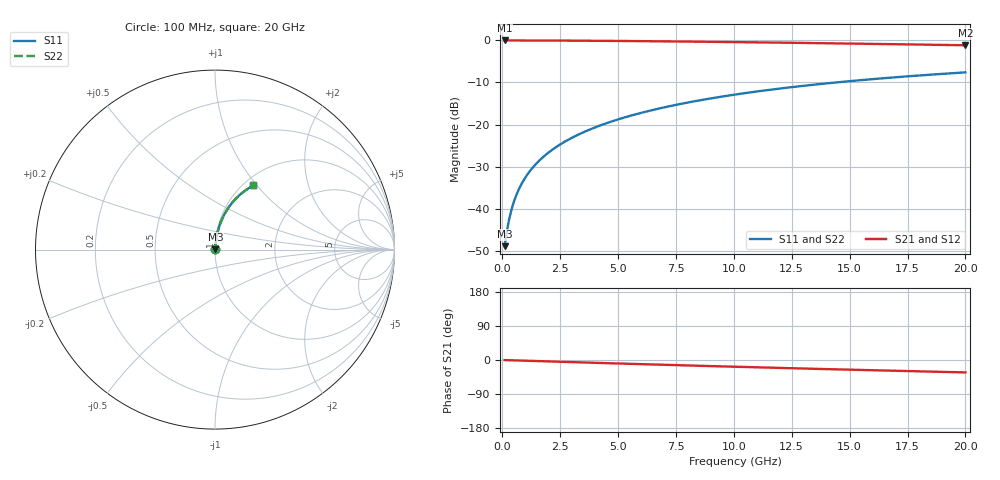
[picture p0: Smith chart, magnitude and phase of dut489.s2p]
! Touchstone file exported from HFSS 2024.1.0
!  File:  C:/UserFiles/LocalFiles/RDL_TSV_Batchsim/temp_RDL_bottom_489_1779686741.aedt
!  Generated:  01:28:06 PM May 25, 2026
!  Design:  RDL_bottom
!  Project:  temp_RDL_bottom_489_1779686741
!  Setup:  Setup1
!  Solution:  Sweep
! Variables:
!  dtsv = 10.80580581um
!  hbump = 3um
!  htsv = 56.58um
!  ldown = 367.58um
!  lrdl = 100um
!  p = 40
!  p1 = 58.65um
!  rhole = 1um
!  t = 450um
!  tdown = 4.6um
!  trdl = 3.915915916um
!  wdown = 10.67um
!  wrdl = 20um
# GHz S MA R 50.000000
! Terminal data exported
! Port[1] = RDL1_T1
! Port[2] = RDL1_T2
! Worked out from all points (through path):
!   200 points, 100 MHz to 20 GHz, reference 50 ohm
!   highest |S21| = -0.02 dB at 100 MHz (marker M1); lowest = -1.2 dB at 20 GHz (marker M2)
!   group delay of S21, straight-line fit = 4.54 ps
!   lowest |S11| = -48.9 dB at 100 MHz (marker M3), VSWR 1.01, Z = 50.3 + j0.238 ohm
!   |S11| at or under -10 dB: start of sweep to 14.39 GHz
!   |S22| runs from -48.9 to -7.6 dB; largest |S21 - S12| = 3.9e-15
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0.1  0.003608 41.1  0.9973 -0.2  0.9973 -0.2  0.003608 41.1
! Gamma 0 0 0 0
! Port Impedance 50 0 50 0
0.2  0.005472 60.0  0.9972 -0.4  0.9972 -0.4  0.005471 60.0
0.3  0.007618 68.7  0.9972 -0.6  0.9972 -0.6  0.007616 68.7
0.4  0.009859 73.4  0.9971 -0.8  0.9971 -0.8  0.009856 73.4
0.5  0.01214 76.2  0.997 -1.0  0.997 -1.0  0.01213 76.2
0.6  0.01443 78.1  0.9969 -1.1  0.9969 -1.1  0.01443 78.1
0.8  0.01905 80.3  0.9967 -1.5  0.9967 -1.5  0.01904 80.3
1.1  0.02597 82.0  0.9963 -2.1  0.9963 -2.1  0.02597 82.0
1.5  0.03519 82.9  0.9957 -2.8  0.9957 -2.8  0.03518 82.9
1.8  0.04209 83.1  0.9952 -3.4  0.9952 -3.4  0.04209 83.1
2.1  0.04898 83.2  0.9945 -3.9  0.9945 -3.9  0.04898 83.2
2.7  0.06276 82.9  0.9929 -5.0  0.9929 -5.0  0.06276 82.9
3.5  0.0811 82.3  0.9903 -6.5  0.9903 -6.5  0.0811 82.3
4.2  0.0971 81.6  0.9876 -7.8  0.9876 -7.8  0.0971 81.6
5  0.1153 80.6  0.9841 -9.2  0.9841 -9.2  0.1153 80.6
5.9  0.1357 79.4  0.9796 -10.8  0.9796 -10.8  0.1357 79.4
6.8  0.156 78.2  0.9747 -12.4  0.9747 -12.4  0.156 78.2
8.3  0.1893 76.0  0.9657 -14.9  0.9657 -14.9  0.1892 76.0
10.1  0.2283 73.4  0.9537 -17.9  0.9537 -17.9  0.2283 73.4
13.4  0.2966 68.5  0.9293 -23.1  0.9293 -23.1  0.2966 68.5
16.7  0.3597 63.7  0.9024 -28.1  0.9024 -28.1  0.3597 63.7
20  0.4169 59.1  0.8742 -32.7  0.8742 -32.7  0.4168 59.1
